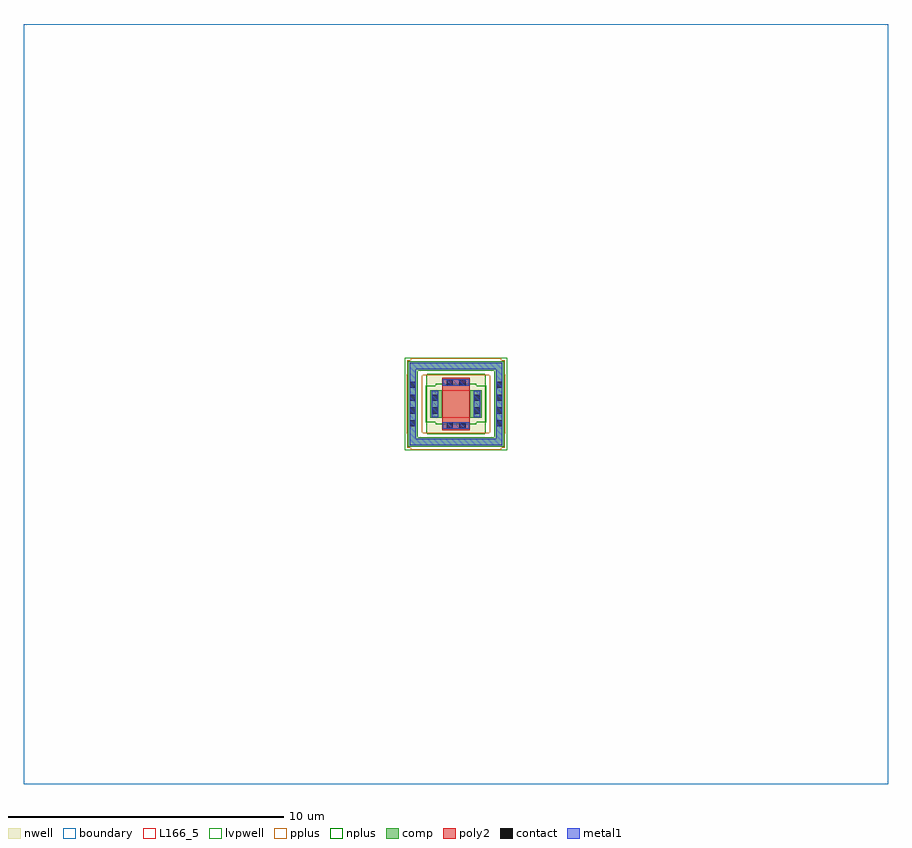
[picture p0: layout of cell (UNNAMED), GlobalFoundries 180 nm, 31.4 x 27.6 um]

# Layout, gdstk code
import gdstk
lib = gdstk.Library(unit=1e-6, precision=1e-09)
def R(c, l, rs):  # rectangles x0, y0, x1, y1
    for r in rs: c.add(gdstk.rectangle(r[:2], r[2:], *l))
def A(c, l, x, y, w, h, nx, ny, dx, dy):  # array of equal rectangles
    R(c, l, [(x+i*dx, y+j*dy, x+i*dx+w, y+j*dy+h) for i in range(nx) for j in range(ny)])
boundary = (0, 0)
nwell = (21, 0)
comp = (22, 0)
poly2 = (30, 0)
pplus = (31, 0)
nplus = (32, 0)
contact = (33, 0)
metal1 = (34, 0)
L166_5 = (166, 5)
lvpwell = (204, 0)

c__unnamed_ = lib.new_cell('(UNNAMED)')
R(c__unnamed_, boundary, [(-15.7,-13.8,15.7,13.8)])
R(c__unnamed_, nwell, [(-1.06,-1.08,1.06,1.08)])
R(c__unnamed_, comp, [(-1.75,-1.56,1.75,-1.2), (-1.75,-1.2,-1.39,1.2), (1.39,-1.2,1.75,1.2), (-0.94,-0.5,-0.5,0.5), (0.5,-0.5,0.94,0.5), (-1.75,1.2,1.75,1.56)])
R(c__unnamed_, poly2, [(-0.5,-0.96,0.5,0.96)])
R(c__unnamed_, pplus, [(-1.65,-1.67,1.65,-1.58), (-1.77,-1.58,1.77,-1.075), (-1.78,-1.075,1.78,-1.04), (-1.78,-1.04,-1.23,1.04), (1.23,-1.04,1.78,1.04), (-1.78,1.04,1.78,1.075), (-1.77,1.075,1.77,1.58), (-1.65,1.58,1.65,1.67)])
R(c__unnamed_, nplus, [(-0.73,-0.73,0.73,-0.66), (-1.1,-0.66,1.1,0.66), (-0.73,0.66,0.73,0.73)])
A(c__unnamed_, contact, -1.68, -0.815, 0.22, 0.22, 1, 4, 0, 0.47)
A(c__unnamed_, contact, 1.46, -0.815, 0.22, 0.22, 1, 4, 0, 0.47)
R(c__unnamed_, contact, [(-0.345,-0.89,-0.125,-0.67), (0.125,-0.89,0.345,-0.67), (-0.87,-0.345,-0.65,-0.125), (0.65,-0.345,0.87,-0.125), (-0.87,0.125,-0.65,0.345), (0.65,0.125,0.87,0.345), (-0.345,0.67,-0.125,0.89), (0.125,0.67,0.345,0.89)])
R(c__unnamed_, metal1, [(-1.685,-1.495,1.685,-1.265), (-1.685,-1.265,-1.455,1.265), (1.455,-1.265,1.685,1.265), (-0.49,-0.895,0.49,-0.665), (-0.875,-0.49,-0.645,0.49), (0.645,-0.49,0.875,0.49), (-0.49,0.665,0.49,0.895), (-1.685,1.265,1.685,1.495)])
R(c__unnamed_, L166_5, [(-0.5,-0.5,0.5,0.5)])
R(c__unnamed_, lvpwell, [(-1.87,-1.68,1.87,-1.08), (-1.87,-1.08,-1.06,1.08), (1.06,-1.08,1.87,1.08), (-1.87,1.08,1.87,1.68)])

lib.write_gds('_UNNAMED_.gds')
